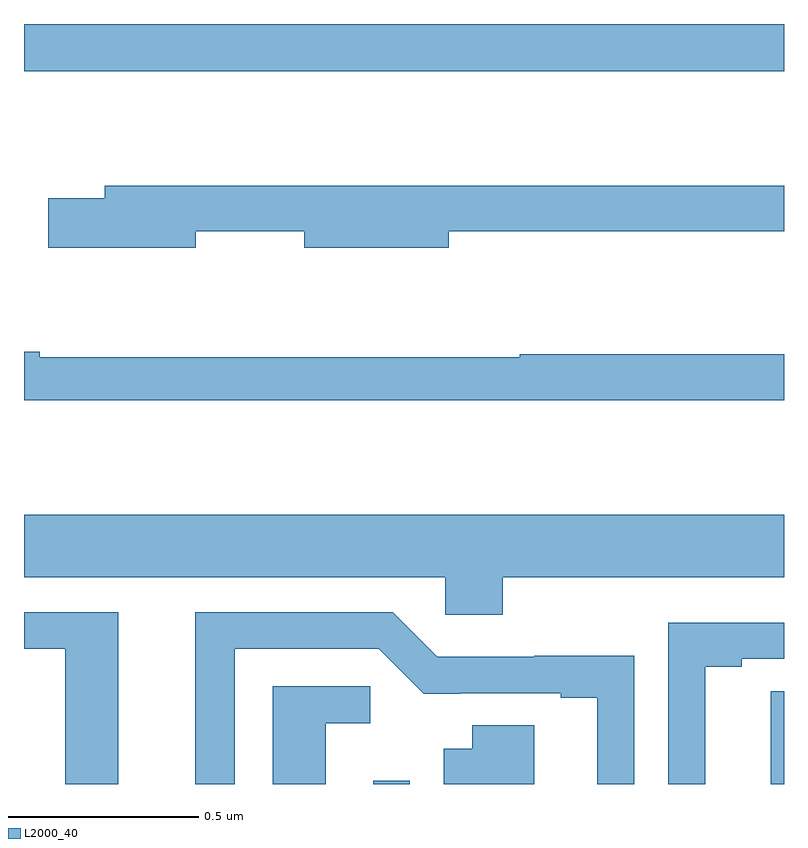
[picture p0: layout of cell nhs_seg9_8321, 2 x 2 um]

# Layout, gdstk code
import gdstk
lib = gdstk.Library(unit=1e-6, precision=1e-09)
def R(c, l, rs):  # rectangles x0, y0, x1, y1
    for r in rs: c.add(gdstk.rectangle(r[:2], r[2:], *l))
def P(c, l, *ps):  # polygons
    for p in ps: c.add(gdstk.Polygon(p, *l))
L2000_40 = (2000, 40)

nhs_seg9_8321 = lib.new_cell('nhs_seg9_8321')
R(nhs_seg9_8321, L2000_40, [(215.919,1238.5,216.015,1238.509), (216.965,1238.5,217,1238.744), (215,1240.376,217,1240.5)])
P(nhs_seg9_8321, L2000_40, [(215.452,1239.954),(215.738,1239.954),(215.738,1239.911),(216.118,1239.911),(216.118,1239.954),(217,1239.954),(217,1240.075),(215.213,1240.075),(215.213,1240.041),(215.064,1240.041),(215.064,1239.911),(215.452,1239.911)],
  [(217,1239.631),(216.304,1239.631),(216.304,1239.623),(215.042,1239.623),(215.042,1239.638),(215,1239.638),(215,1239.51),(217,1239.51)],
  [(216.26,1239.044),(217,1239.044),(217,1239.208),(215,1239.208),(215,1239.044),(216.108,1239.044),(216.108,1238.946),(216.26,1238.946)],
  [(215.248,1238.952),(215,1238.952),(215,1238.856),(215.108,1238.856),(215.108,1238.5),(215.248,1238.5)],
  [(215.554,1238.856),(215.934,1238.856),(216.052,1238.738),(216.148,1238.738),(216.148,1238.739),(216.413,1238.739),(216.413,1238.727),(216.509,1238.727),(216.509,1238.5),(216.606,1238.5),(216.606,1238.837),(216.343,1238.837),(216.343,1238.835),(216.087,1238.835),(215.97,1238.952),(215.45,1238.952),(215.45,1238.5),(215.554,1238.5)],
  [(216.793,1238.809),(216.889,1238.809),(216.889,1238.829),(217,1238.829),(217,1238.925),(216.696,1238.925),(216.696,1238.5),(216.793,1238.5)],
  [(215.794,1238.66),(215.911,1238.66),(215.911,1238.757),(215.654,1238.757),(215.654,1238.5),(215.794,1238.5)],
  [(216.343,1238.654),(216.179,1238.654),(216.179,1238.593),(216.104,1238.593),(216.104,1238.5),(216.343,1238.5)])

lib.write_gds('nhs_seg9_8321.gds')
